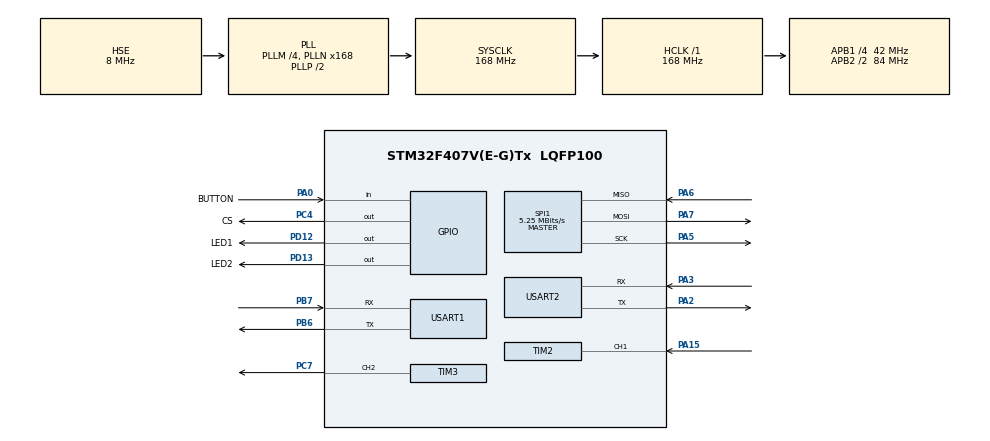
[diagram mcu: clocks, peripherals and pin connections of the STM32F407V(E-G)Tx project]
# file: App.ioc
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Dma.Request0=USART2_RX
Dma.Request1=USART2_TX
Dma.USART2_RX.0.Direction=DMA_PERIPH_TO_MEMORY
Dma.USART2_RX.0.FIFOMode=DMA_FIFOMODE_DISABLE
Dma.USART2_RX.0.Instance=DMA1_Stream5
Dma.USART2_RX.0.MemDataAlignment=DMA_MDATAALIGN_BYTE
Dma.USART2_RX.0.MemInc=DMA_MINC_ENABLE
Dma.USART2_RX.0.Mode=DMA_NORMAL
Dma.USART2_RX.0.PeriphDataAlignment=DMA_PDATAALIGN_BYTE
Dma.USART2_RX.0.PeriphInc=DMA_PINC_DISABLE
Dma.USART2_RX.0.Priority=DMA_PRIORITY_LOW
Dma.USART2_TX.1.Direction=DMA_MEMORY_TO_PERIPH
Dma.USART2_TX.1.FIFOMode=DMA_FIFOMODE_DISABLE
Dma.USART2_TX.1.Instance=DMA1_Stream6
Dma.USART2_TX.1.MemDataAlignment=DMA_MDATAALIGN_BYTE
Dma.USART2_TX.1.MemInc=DMA_MINC_ENABLE
Dma.USART2_TX.1.Mode=DMA_NORMAL
Dma.USART2_TX.1.PeriphDataAlignment=DMA_PDATAALIGN_BYTE
Dma.USART2_TX.1.PeriphInc=DMA_PINC_DISABLE
Dma.USART2_TX.1.Priority=DMA_PRIORITY_LOW
Mcu.Family=STM32F4
Mcu.Name=STM32F407V(E-G)Tx
Mcu.Package=LQFP100
NVIC.DMA1_Stream5_IRQn=true\:0\:0\:false\:false\:true\:false\:true\:true
NVIC.DMA1_Stream6_IRQn=true\:0\:0\:false\:false\:true\:false\:true\:true
NVIC.PriorityGroup=NVIC_PRIORITYGROUP_4
NVIC.USART2_IRQn=true\:0\:0\:false\:false\:true\:true\:true\:true
PA0-WKUP.GPIO_Label=BUTTON
PA0-WKUP.Signal=GPIO_Input
PA15.Signal=S_TIM2_CH1_ETR
PA2.Mode=Asynchronous
PA2.Signal=USART2_TX
PA3.Mode=Asynchronous
PA3.Signal=USART2_RX
PA5.Mode=Full_Duplex_Master
PA5.Signal=SPI1_SCK
PA6.Mode=Full_Duplex_Master
PA6.Signal=SPI1_MISO
PA7.Mode=Full_Duplex_Master
PA7.Signal=SPI1_MOSI
PB6.Mode=Asynchronous
PB6.Signal=USART1_TX
PB7.Mode=Asynchronous
PB7.Signal=USART1_RX
PC4.GPIO_Label=CS
PC4.Signal=GPIO_Output
PC7.Signal=S_TIM3_CH2
PD12.GPIO_Label=LED1
PD12.Signal=GPIO_Output
PD13.GPIO_Label=LED2
PD13.Signal=GPIO_Output
PH0-OSC_IN.Mode=HSE-External-Oscillator
PH0-OSC_IN.Signal=RCC_OSC_IN
PH1-OSC_OUT.Mode=HSE-External-Oscillator
PH1-OSC_OUT.Signal=RCC_OSC_OUT
ProjectManager.HeapSize=0x200
ProjectManager.StackSize=0x800
ProjectManager.TargetToolchain=STM32CubeIDE
RCC.48MHZClocksFreq_Value=48000000
RCC.AHBFreq_Value=168000000
RCC.APB1CLKDivider=RCC_HCLK_DIV4
RCC.APB1Freq_Value=42000000
RCC.APB1TimFreq_Value=84000000
RCC.APB2CLKDivider=RCC_HCLK_DIV2
RCC.APB2Freq_Value=84000000
RCC.APB2TimFreq_Value=168000000
RCC.CortexFreq_Value=168000000
RCC.HCLKFreq_Value=168000000
RCC.HSE_VALUE=8000000
RCC.HSI_VALUE=16000000
RCC.LSE_VALUE=32768
RCC.PLLM=4
RCC.PLLN=168
RCC.PLLQ=7
RCC.PLLSourceVirtual=RCC_PLLSOURCE_HSE
RCC.SYSCLKFreq_VALUE=168000000
RCC.SYSCLKSource=RCC_SYSCLKSOURCE_PLLCLK
RCC.VCOOutputFreq_Value=336000000
SH.S_TIM2_CH1_ETR.0=TIM2_CH1,Input_Capture1_from_TI1
SH.S_TIM3_CH2.0=TIM3_CH2,Output Compare2 CH2
SPI1.BaudRatePrescaler=SPI_BAUDRATEPRESCALER_16
SPI1.CalculateBaudRate=5.25 MBits/s
SPI1.Direction=SPI_DIRECTION_2LINES
SPI1.Mode=SPI_MODE_MASTER
SPI1.VirtualType=VM_MASTER
TIM2.Channel-Input_Capture1_from_TI1=TIM_CHANNEL_1
TIM2.ICFilter_CH1=4
TIM2.ICPolarity_CH1=TIM_INPUTCHANNELPOLARITY_BOTHEDGE
TIM2.Prescaler=168-1
TIM3.Channel-Output\ Compare2\ CH2=TIM_CHANNEL_2
TIM3.Prescaler=83
USART1.VirtualMode=VM_ASYNC
USART2.VirtualMode=VM_ASYNC
VP_RNG_VS_RNG.Mode=RNG_Activate
board=custom

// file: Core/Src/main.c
/* USER CODE BEGIN Header */
/**
 ******************************************************************************
 * @file           : main.c
 * @brief          : Main program body
 ******************************************************************************
 * @attention
 *
 * Copyright (c) 2025 STMicroelectronics.
 * All rights reserved.
 *
 * This software is licensed under terms that can be found in the LICENSE file
 * in the root directory of this software component.
 * If no LICENSE file comes with this software, it is provided AS-IS.
 *
 ******************************************************************************
 */
/* USER CODE END Header */
#include "main.h"
#include "dma.h"
#include "rng.h"
#include "spi.h"
#include "tim.h"
#include "usart.h"
#include "gpio.h"

/* USER CODE BEGIN Includes */
#include "lwprintf.h"
#include <string.h>
#include <stdio.h>
#include <ymodem.h>
#include "resource_manager.h"
#include "hardware/stm32f4xx/stm32f4xx_crypto.h"
#include "rng/trng.h"
#include "path.h"
#include "version.h"
#include "update/update.h"
#include "security/verify.h"
#include "drivers/memory/flash/internal/stm32f4xx_flash_driver.h"
#include "drivers/memory/flash/external/w25q_flash_driver.h"
#include "stm32_log.h"
/* USER CODE END Includes */

/* USER CODE BEGIN PV */
ymodem_handle_t ymodem;
const uint8_t* pemUpdtSignPublicKey;
size_t pemUpdtSignPublicKeyLen;

UpdateSettings updateSettings;
UpdateContext updateContext;
static const char *TAG = "MAIN";
/* USER CODE END PV */

void SystemClock_Config(void);
/* USER CODE BEGIN PFP */
COM_StatusTypeDef ymodem_uart_read(uint8_t *data, size_t size, uint32_t timeout_ms);

COM_StatusTypeDef ymodem_uart_write(const uint8_t *data, size_t size);

COM_StatusTypeDef ymodem_data_callback(uint8_t *data, size_t length, uint32_t offset);

static int32_t w25q_spi_init(void *user_ctx);

static int32_t w25q_spi_write_read(void *user_ctx, const uint8_t *tx, uint8_t *rx, size_t len);

static void w25q_cs_control(void *user_ctx, bool level);

static void w25q_delay_ms(uint32_t ms);

static void w25q_lock(void *user_ctx);

static void w25q_unlock(void *user_ctx) ;

/* USER CODE END PFP */

/* USER CODE BEGIN 0 */

static w25q_hw_t w25q_hw = {
		.spi_init = w25q_spi_init,
		.spi_write_read = w25q_spi_write_read,
		.cs_control = w25q_cs_control,
		.delay_ms = w25q_delay_ms,
		.lock = w25q_lock,
		.unlock = w25q_unlock
};
/* USER CODE END 0 */

int main(void)
{

	/* USER CODE BEGIN 1 */
	error_t error;
	cboot_error_t cerror;
	COM_StatusTypeDef result;
	w25q_driver_config_t config = {
			.hw_callbacks = w25q_hw,
			.user_ctx = NULL,
			.timeout_ms = 5000,
			.software_cs = true
	};
	/* USER CODE END 1 */

	/* MCU Configuration--------------------------------------------------------*/

	/* Reset of all peripherals, Initializes the Flash interface and the Systick. */
	HAL_Init();

	/* USER CODE BEGIN Init */
	stm32_log_init(NULL);

	STM32_LOGI(TAG, "Inited...");
	/* USER CODE END Init */

	/* Configure the system clock */
	SystemClock_Config();

	/* USER CODE BEGIN SysInit */
	STM32_LOGI(TAG, "SystemClock_Config() finish...");
	/* USER CODE END SysInit */

	/* Initialize all configured peripherals */
	MX_GPIO_Init();
	MX_DMA_Init();
	MX_RNG_Init();
	MX_USART2_UART_Init();
	MX_SPI1_Init();
	MX_USART1_UART_Init();
	MX_TIM2_Init();
	MX_TIM3_Init();
	/* USER CODE BEGIN 2 */

	for(uint8_t i = 0; i < 15; i++)
	{
		HAL_GPIO_TogglePin(LED2_GPIO_Port, LED2_Pin);
		HAL_Delay(400);
	}
	HAL_GPIO_WritePin(LED2_GPIO_Port, LED2_Pin, GPIO_PIN_SET);
	HAL_GPIO_WritePin(LED1_GPIO_Port, LED1_Pin, GPIO_PIN_SET);

	STM32_LOGI(TAG, "user application started...\r\n!");

	//external flash driver init
	w25qFlashSetConfig(&config);
	//	// Initialize YMODEM with user I/O functions
	ymodem_init(&ymodem, ymodem_uart_read, ymodem_uart_write);

	if(resGetData("/keys/rsa_public_key.pem", &pemUpdtSignPublicKey, &pemUpdtSignPublicKeyLen) != NO_ERROR)
	{
		STM32_LOGI(TAG, "public key not found!\r\n");

		Error_Handler();
	}
	else
	{
		STM32_LOGI(TAG, "Public key found!");
	}
	//->criptografia
	error = stm32f4xxCryptoInit();
	if(error)
	{
		STM32_LOGI(TAG, "failed hardware crypto!");
		Error_Handler();
	}
	//generador de numeros aleatorios
	error = trngInit();

	if(error)
	{
		STM32_LOGI(TAG, "failed trng init");
		Error_Handler();
	}

	//User update settings security configuration
	updateSettings.imageInCrypto.verifySettings.verifyMethod    = VERIFY_METHOD_SIGNATURE;
	updateSettings.imageInCrypto.verifySettings.signAlgo        = VERIFY_SIGN_RSA;
	updateSettings.imageInCrypto.verifySettings.signHashAlgo    = SHA256_HASH_ALGO;
	updateSettings.imageInCrypto.verifySettings.signKey         = (const char_t*) pemUpdtSignPublicKey;
	updateSettings.imageInCrypto.verifySettings.signKeyLen      = pemUpdtSignPublicKeyLen;
	updateSettings.imageInCrypto.cipherAlgo                     = AES_CIPHER_ALGO;
	updateSettings.imageInCrypto.cipherMode                     = CIPHER_MODE_CBC;
	updateSettings.imageInCrypto.cipherKey                      = (const uint8_t *)"aa3ff7d43cc015682c7dfd00de9379e7";
	updateSettings.imageInCrypto.cipherKeyLen                   = 32;

	//User update settings primary memory configuration
	updateSettings.memories[0].memoryRole 			   = MEMORY_ROLE_PRIMARY;
	updateSettings.memories[0].memoryType 			   = MEMORY_TYPE_FLASH;
	updateSettings.memories[0].driver     			   = &stm32f4xxFlashDriver;
	updateSettings.memories[0].nbSlots    			   = 2;
	//User update settings primary memory slot 0 configuration
	updateSettings.memories[0].slots[0].type 		   = SLOT_TYPE_DIRECT;
	updateSettings.memories[0].slots[0].cType 		= SLOT_CONTENT_APP;
	updateSettings.memories[0].slots[0].memParent 	= &updateSettings.memories[0];
	updateSettings.memories[0].slots[0].addr 		   = 0x08020000;
	updateSettings.memories[0].slots[0].size 		   = 0x60000; //128x3 = 384kb

	//	//User update setting primary memory slot 1 configuration
	updateSettings.memories[0].slots[1].type 		   = SLOT_TYPE_DIRECT;
	updateSettings.memories[0].slots[1].cType 		= SLOT_CONTENT_APP | SLOT_CONTENT_BACKUP;
	updateSettings.memories[0].slots[1].memParent 	= &updateSettings.memories[0];
	updateSettings.memories[0].slots[1].addr 		   = 0x08080000;
	updateSettings.memories[0].slots[1].size 		   = 0x60000;	//128x3 = 384kb

	//Boot
	if(HAL_GPIO_ReadPin(BUTTON_GPIO_Port, BUTTON_Pin))
	{
		STM32_LOGI(TAG, "Receiving firmware update image...\r\n");
		//Initialize IAP update context
		cerror = updateInit(&updateContext, &updateSettings);
		STM32_LOGI(TAG, "cerror=%d", cerror);

		if(cerror)
		{
			STM32_LOGI(TAG, "failed to initialize IAP\r\n"); // in application programming
			Error_Handler();
		}
		STM32_LOGI(TAG, "Ymodem Init...");

		result = ymodem_receive(&ymodem, ymodem_data_callback);

		STM32_LOGE(TAG, "ymodem result=%d", result);

		if(result == COM_OK)
		{
			STM32_LOGI(TAG, "firmware receive ok!");

			cerror = updateFinalize(&updateContext);

			if(cerror != CBOOT_NO_ERROR)
			{
				STM32_LOGI(TAG, "failed to finalize firmware\r\n");
			}

			error = updateReboot(&updateContext);

			if(cerror != CBOOT_NO_ERROR)
			{
				STM32_LOGI(TAG, "failed reboot\r\n");
			}
		}
		else
		{
			STM32_LOGI(TAG, "Fail receiving firmware");
		}
	}

	STM32_LOGI(TAG, "App enter to loop");
	/* USER CODE END 2 */

	/* Infinite loop */
	while (1)
	{

		/* USER CODE BEGIN 3 */
		LED1_GPIO_Port->ODR ^= LED1_Pin;
		HAL_Delay(100);
		LED2_GPIO_Port->ODR ^= LED2_Pin;
		HAL_Delay(100);
	}
	/* USER CODE END 3 */
}

void SystemClock_Config(void)
{
	RCC_OscInitTypeDef RCC_OscInitStruct = {0};
	RCC_ClkInitTypeDef RCC_ClkInitStruct = {0};

	/** Configure the main internal regulator output voltage
	 */
	__HAL_RCC_PWR_CLK_ENABLE();
	__HAL_PWR_VOLTAGESCALING_CONFIG(PWR_REGULATOR_VOLTAGE_SCALE1);

	/** Initializes the RCC Oscillators according to the specified parameters
	 * in the RCC_OscInitTypeDef structure.
	 */
	RCC_OscInitStruct.OscillatorType = RCC_OSCILLATORTYPE_HSE;
	RCC_OscInitStruct.HSEState = RCC_HSE_ON;
	RCC_OscInitStruct.PLL.PLLState = RCC_PLL_ON;
	RCC_OscInitStruct.PLL.PLLSource = RCC_PLLSOURCE_HSE;
	RCC_OscInitStruct.PLL.PLLM = 4;
	RCC_OscInitStruct.PLL.PLLN = 168;
	RCC_OscInitStruct.PLL.PLLP = RCC_PLLP_DIV2;
	RCC_OscInitStruct.PLL.PLLQ = 7;
	if (HAL_RCC_OscConfig(&RCC_OscInitStruct) != HAL_OK)
	{
		Error_Handler();
	}

	/** Initializes the CPU, AHB and APB buses clocks
	 */
	RCC_ClkInitStruct.ClockType = RCC_CLOCKTYPE_HCLK|RCC_CLOCKTYPE_SYSCLK
			|RCC_CLOCKTYPE_PCLK1|RCC_CLOCKTYPE_PCLK2;
	RCC_ClkInitStruct.SYSCLKSource = RCC_SYSCLKSOURCE_PLLCLK;
	RCC_ClkInitStruct.AHBCLKDivider = RCC_SYSCLK_DIV1;
	RCC_ClkInitStruct.APB1CLKDivider = RCC_HCLK_DIV4;
	RCC_ClkInitStruct.APB2CLKDivider = RCC_HCLK_DIV2;

	if (HAL_RCC_ClockConfig(&RCC_ClkInitStruct, FLASH_LATENCY_5) != HAL_OK)
	{
		Error_Handler();
	}
}

/* USER CODE BEGIN 4 */
int stm32_log_out(int ch, lwprintf_t* p) {

	uint8_t c = (uint8_t)ch;

	/* Don't print zero */
	if (c == '\0') {
		return ch;
	}
	ITM_SendChar(ch);
	//add uart
	HAL_UART_Transmit(&huart1, &c, 1, 1);
	return ch;
}

// User-provided read function (w25q for UART)
COM_StatusTypeDef ymodem_uart_read(uint8_t *data, size_t size, uint32_t timeout_ms) {
	return HAL_UART_Receive(&huart2, data, size, timeout_ms);

}

// User-provided write function (w25q for UART)
COM_StatusTypeDef ymodem_uart_write(const uint8_t *data, size_t size) {

	return HAL_UART_Transmit(&huart2, data, size, 2000);

}

// User data callback to process received data
COM_StatusTypeDef ymodem_data_callback(uint8_t *data, size_t length, uint32_t offset) {

	error_t error;

	//write to flash
	if((error = updateProcess(&updateContext, data, length) )!= NO_ERROR)
	{
		STM32_LOGI(TAG, "YMODEM: length: %d, offset: %d",length, offset);
		STM32_LOGE(TAG, "Error update Process");

	}

	return error;
}

static int32_t w25q_spi_init(void *user_ctx)
{
	MX_SPI1_Init();
	// Inicializar hardware SPI aquí
	STM32_LOGI(TAG, "SPI inicializado\r\n");
	return 0;
}

static int32_t w25q_spi_write_read(void *user_ctx, const uint8_t *tx, uint8_t *rx, size_t len)
{
	int32_t ret = HAL_OK;
	// Implementar transferencia SPI aquí
	if(tx == NULL)
	{
		ret = HAL_SPI_Receive(&hspi1, rx, len, HAL_MAX_DELAY);
	}
	else if(rx == NULL)
	{
		ret = HAL_SPI_Transmit(&hspi1, tx, len, HAL_MAX_DELAY);
	}
	else
	{
		ret = HAL_SPI_TransmitReceive(&hspi1, tx, rx, len, HAL_MAX_DELAY);
	}

	return ret;
}

static void w25q_cs_control(void *user_ctx, bool level)
{
	HAL_GPIO_WritePin(CS_GPIO_Port, CS_Pin, level ? GPIO_PIN_RESET : GPIO_PIN_SET);
}

static void w25q_delay_ms(uint32_t ms)
{
	HAL_Delay(ms);
}

static void w25q_lock(void *user_ctx) {

}
static void w25q_unlock(void *user_ctx) {

}
/* USER CODE END 4 */

void Error_Handler(void)
{
	/* USER CODE BEGIN Error_Handler_Debug */
	/* User can add his own implementation to report the HAL error return state */
	__disable_irq();
	HAL_GPIO_WritePin(LED1_GPIO_Port, LED1_Pin, GPIO_PIN_SET);
	while (1)
	{
	}
	/* USER CODE END Error_Handler_Debug */
}
#ifdef USE_FULL_ASSERT
/**
 * @brief  Reports the name of the source file and the source line number
 *         where the assert_param error has occurred.
 * @param  file: pointer to the source file name
 * @param  line: assert_param error line source number
 * @retval None
 */
void assert_failed(uint8_t *file, uint32_t line)
{
	/* USER CODE BEGIN 6 */
	/* User can add his own implementation to report the file name and line number,
     ex: STM32_LOGI(TAG, "Wrong parameters value: file %s on line %d\r\n", file, line) */
	/* USER CODE END 6 */
}
#endif /* USE_FULL_ASSERT */
